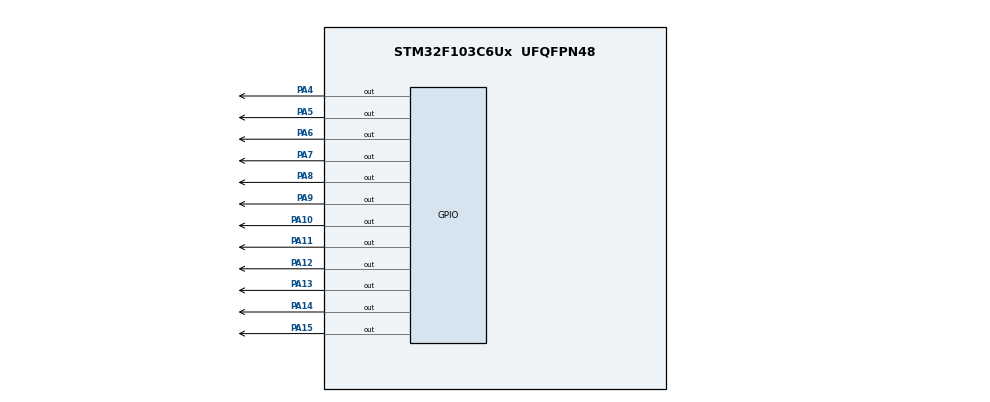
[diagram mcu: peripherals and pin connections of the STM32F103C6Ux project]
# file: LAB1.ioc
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Mcu.Family=STM32F1
Mcu.Name=STM32F103C6Ux
Mcu.Package=UFQFPN48
NVIC.PriorityGroup=NVIC_PRIORITYGROUP_4
PA10.Signal=GPIO_Output
PA11.Signal=GPIO_Output
PA12.Signal=GPIO_Output
PA13.Signal=GPIO_Output
PA14.Signal=GPIO_Output
PA15.Signal=GPIO_Output
PA4.Signal=GPIO_Output
PA5.Signal=GPIO_Output
PA6.Signal=GPIO_Output
PA7.Signal=GPIO_Output
PA8.Signal=GPIO_Output
PA9.Signal=GPIO_Output
ProjectManager.HeapSize=0x200
ProjectManager.StackSize=0x400
ProjectManager.TargetToolchain=STM32CubeIDE
RCC.APB1Freq_Value=8000000
RCC.APB2Freq_Value=8000000
VP_SYS_VS_ND.Mode=No_Debug
board=custom

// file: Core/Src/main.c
/* USER CODE BEGIN Header */
/**
  ******************************************************************************
  * @file           : main.c
  * @brief          : Main program body
  ******************************************************************************
  * @attention
  *
  * <h2><center>&copy; Copyright (c) 2023 STMicroelectronics.
  * All rights reserved.</center></h2>
  *
  * This software component is licensed by ST under BSD 3-Clause license,
  * the "License"; You may not use this file except in compliance with the
  * License. You may obtain a copy of the License at:
  *                        opensource.org/licenses/BSD-3-Clause
  *
  ******************************************************************************
  */
/* USER CODE END Header */
#include "main.h"

/* USER CODE BEGIN Includes */
#include "func.h"
/* USER CODE END Includes */

void SystemClock_Config(void);
static void MX_GPIO_Init(void);

int main(void)
{

  /* MCU Configuration--------------------------------------------------------*/

  /* Reset of all peripherals, Initializes the Flash interface and the Systick. */
  HAL_Init();

  /* USER CODE BEGIN Init */
  int sec = 0;
  int min = 0;
  int hour = 6;
  /* USER CODE END Init */

  /* Configure the system clock */
  SystemClock_Config();

  /* Initialize all configured peripherals */
  MX_GPIO_Init();

  /* Infinite loop */
  /* USER CODE BEGIN WHILE */
  if(sec < 0 || min < 0 || hour < 0 || sec >= 60 || min >= 60 || hour >= 12){
	  sec = 0;
	  min = 0;
	  hour = 0;
  }
  while (1)
  {
		  if(sec < 0 || min < 0 || hour < 0){
			  sec = 0;
			  min = 0;
			  hour = 0;
		  }
		  if(sec >= 60){
			  sec = 0;
			  min = min + 1;
			  if(min >= 60){
				  min = 0;
				  hour = hour + 1;
				  if(hour >= 12){
					  hour = 0;
				  }
			  }
		  }
		  clearAllClock();
		  setNumberOnClock(sec / 5);
		  setNumberOnClock(min / 5);
		  setNumberOnClock(hour);
		  sec = sec + 1;
	  HAL_Delay(1000);
    /* USER CODE END WHILE */

  }
}

void SystemClock_Config(void)
{
  RCC_OscInitTypeDef RCC_OscInitStruct = {0};
  RCC_ClkInitTypeDef RCC_ClkInitStruct = {0};

  /** Initializes the RCC Oscillators according to the specified parameters
  * in the RCC_OscInitTypeDef structure.
  */
  RCC_OscInitStruct.OscillatorType = RCC_OSCILLATORTYPE_HSI;
  RCC_OscInitStruct.HSIState = RCC_HSI_ON;
  RCC_OscInitStruct.HSICalibrationValue = RCC_HSICALIBRATION_DEFAULT;
  RCC_OscInitStruct.PLL.PLLState = RCC_PLL_NONE;
  if (HAL_RCC_OscConfig(&RCC_OscInitStruct) != HAL_OK)
  {
    Error_Handler();
  }
  /** Initializes the CPU, AHB and APB buses clocks
  */
  RCC_ClkInitStruct.ClockType = RCC_CLOCKTYPE_HCLK|RCC_CLOCKTYPE_SYSCLK
                              |RCC_CLOCKTYPE_PCLK1|RCC_CLOCKTYPE_PCLK2;
  RCC_ClkInitStruct.SYSCLKSource = RCC_SYSCLKSOURCE_HSI;
  RCC_ClkInitStruct.AHBCLKDivider = RCC_SYSCLK_DIV1;
  RCC_ClkInitStruct.APB1CLKDivider = RCC_HCLK_DIV1;
  RCC_ClkInitStruct.APB2CLKDivider = RCC_HCLK_DIV1;

  if (HAL_RCC_ClockConfig(&RCC_ClkInitStruct, FLASH_LATENCY_0) != HAL_OK)
  {
    Error_Handler();
  }
}

static void MX_GPIO_Init(void)
{
  GPIO_InitTypeDef GPIO_InitStruct = {0};

  /* GPIO Ports Clock Enable */
  __HAL_RCC_GPIOA_CLK_ENABLE();

  /*Configure GPIO pin Output Level */
  HAL_GPIO_WritePin(GPIOA, GPIO_PIN_4|GPIO_PIN_5|GPIO_PIN_6|GPIO_PIN_7
                          |GPIO_PIN_8|GPIO_PIN_9|GPIO_PIN_10|GPIO_PIN_11
                          |GPIO_PIN_12|GPIO_PIN_13|GPIO_PIN_14|GPIO_PIN_15, GPIO_PIN_RESET);

  /*Configure GPIO pins : PA4 PA5 PA6 PA7
                           PA8 PA9 PA10 PA11
                           PA12 PA13 PA14 PA15 */
  GPIO_InitStruct.Pin = GPIO_PIN_4|GPIO_PIN_5|GPIO_PIN_6|GPIO_PIN_7
                          |GPIO_PIN_8|GPIO_PIN_9|GPIO_PIN_10|GPIO_PIN_11
                          |GPIO_PIN_12|GPIO_PIN_13|GPIO_PIN_14|GPIO_PIN_15;
  GPIO_InitStruct.Mode = GPIO_MODE_OUTPUT_PP;
  GPIO_InitStruct.Pull = GPIO_NOPULL;
  GPIO_InitStruct.Speed = GPIO_SPEED_FREQ_LOW;
  HAL_GPIO_Init(GPIOA, &GPIO_InitStruct);

}

void Error_Handler(void)
{
  __disable_irq();
  while (1)
  {
  }
}

/************************ (C) COPYRIGHT STMicroelectronics *****END OF FILE****/
